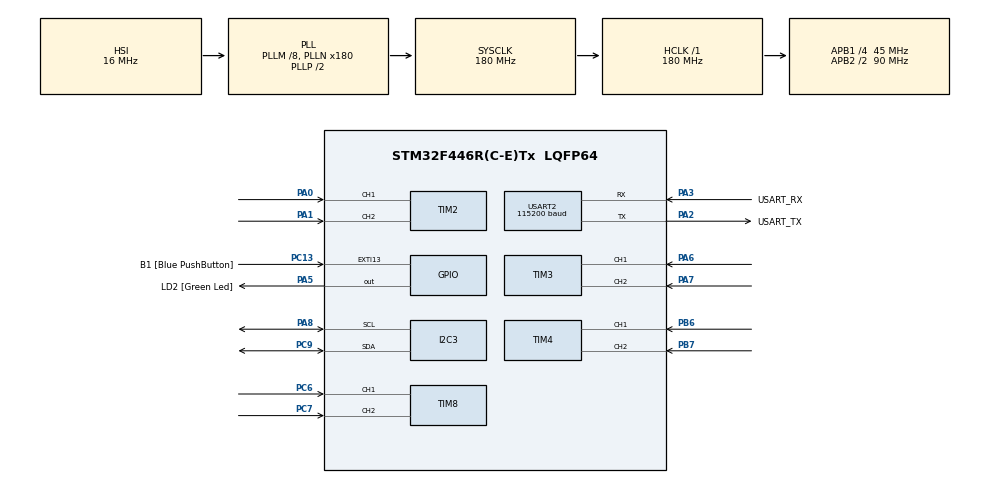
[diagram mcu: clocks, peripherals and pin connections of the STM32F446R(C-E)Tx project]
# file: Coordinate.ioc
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Dma.Request0=USART2_RX
Dma.Request1=USART2_TX
Dma.USART2_RX.0.Direction=DMA_PERIPH_TO_MEMORY
Dma.USART2_RX.0.FIFOMode=DMA_FIFOMODE_DISABLE
Dma.USART2_RX.0.Instance=DMA1_Stream5
Dma.USART2_RX.0.MemDataAlignment=DMA_MDATAALIGN_BYTE
Dma.USART2_RX.0.MemInc=DMA_MINC_ENABLE
Dma.USART2_RX.0.Mode=DMA_CIRCULAR
Dma.USART2_RX.0.PeriphDataAlignment=DMA_PDATAALIGN_BYTE
Dma.USART2_RX.0.PeriphInc=DMA_PINC_DISABLE
Dma.USART2_RX.0.Priority=DMA_PRIORITY_HIGH
Dma.USART2_TX.1.Direction=DMA_MEMORY_TO_PERIPH
Dma.USART2_TX.1.FIFOMode=DMA_FIFOMODE_DISABLE
Dma.USART2_TX.1.Instance=DMA1_Stream6
Dma.USART2_TX.1.MemDataAlignment=DMA_MDATAALIGN_BYTE
Dma.USART2_TX.1.MemInc=DMA_MINC_ENABLE
Dma.USART2_TX.1.Mode=DMA_NORMAL
Dma.USART2_TX.1.PeriphDataAlignment=DMA_PDATAALIGN_BYTE
Dma.USART2_TX.1.PeriphInc=DMA_PINC_DISABLE
Dma.USART2_TX.1.Priority=DMA_PRIORITY_HIGH
Mcu.Family=STM32F4
Mcu.Name=STM32F446R(C-E)Tx
Mcu.Package=LQFP64
NVIC.DMA1_Stream5_IRQn=true\:0\:0\:false\:false\:true\:false\:true\:true
NVIC.DMA1_Stream6_IRQn=true\:0\:0\:false\:false\:true\:false\:true\:true
NVIC.PriorityGroup=NVIC_PRIORITYGROUP_4
NVIC.TIM5_IRQn=true\:0\:0\:false\:false\:true\:true\:true\:true
NVIC.TIM8_BRK_TIM12_IRQn=true\:0\:0\:false\:false\:true\:true\:true\:true
NVIC.USART2_IRQn=true\:0\:0\:false\:false\:true\:true\:true\:true
PA0-WKUP.Signal=S_TIM2_CH1_ETR
PA1.Signal=S_TIM2_CH2
PA13.GPIO_Label=TMS
PA13.Mode=Trace_Asynchronous_SW
PA13.Signal=SYS_JTMS-SWDIO
PA14.GPIO_Label=TCK
PA14.Mode=Trace_Asynchronous_SW
PA14.Signal=SYS_JTCK-SWCLK
PA2.GPIO_Label=USART_TX
PA2.Mode=Asynchronous
PA2.Signal=USART2_TX
PA3.GPIO_Label=USART_RX
PA3.Mode=Asynchronous
PA3.Signal=USART2_RX
PA5.GPIO_Label=LD2 [Green Led]
PA5.Signal=GPIO_Output
PA6.Signal=S_TIM3_CH1
PA7.Signal=S_TIM3_CH2
PA8.Mode=I2C
PA8.Signal=I2C3_SCL
PB3.GPIO_Label=SWO
PB3.Mode=Trace_Asynchronous_SW
PB3.Signal=SYS_JTDO-SWO
PB6.Signal=S_TIM4_CH1
PB7.Signal=S_TIM4_CH2
PC13.GPIO_Label=B1 [Blue PushButton]
PC13.GPIO_ModeDefaultEXTI=GPIO_MODE_IT_FALLING
PC13.Signal=GPXTI13
PC14-OSC32_IN.Mode=LSE-External-Oscillator
PC14-OSC32_IN.Signal=RCC_OSC32_IN
PC15-OSC32_OUT.Mode=LSE-External-Oscillator
PC15-OSC32_OUT.Signal=RCC_OSC32_OUT
PC6.Signal=S_TIM8_CH1
PC7.Signal=S_TIM8_CH2
PC9.Mode=I2C
PC9.Signal=I2C3_SDA
PH0-OSC_IN.Mode=HSE-External-Oscillator
PH0-OSC_IN.Signal=RCC_OSC_IN
PH1-OSC_OUT.Mode=HSE-External-Oscillator
PH1-OSC_OUT.Signal=RCC_OSC_OUT
ProjectManager.HeapSize=0x200
ProjectManager.StackSize=0x400
ProjectManager.TargetToolchain=STM32CubeIDE
RCC.48MHZClocksFreq_Value=84000000
RCC.AHBFreq_Value=180000000
RCC.APB1CLKDivider=RCC_HCLK_DIV4
RCC.APB1Freq_Value=45000000
RCC.APB1TimFreq_Value=90000000
RCC.APB2CLKDivider=RCC_HCLK_DIV2
RCC.APB2Freq_Value=90000000
RCC.APB2TimFreq_Value=180000000
RCC.CortexFreq_Value=180000000
RCC.FLatency-AdvancedSettings=FLASH_LATENCY_5
RCC.HCLKFreq_Value=180000000
RCC.HSE_VALUE=8000000
RCC.HSI_VALUE=16000000
RCC.PLLM=8
RCC.PLLN=180
RCC.SYSCLKFreq_VALUE=180000000
RCC.SYSCLKSource=RCC_SYSCLKSOURCE_PLLCLK
RCC.USBFreq_Value=180000000
RCC.VCOOutputFreq_Value=360000000
SH.S_TIM2_CH1_ETR.0=TIM2_CH1,Encoder_Interface
SH.S_TIM2_CH2.0=TIM2_CH2,Encoder_Interface
SH.S_TIM3_CH1.0=TIM3_CH1,Encoder_Interface
SH.S_TIM3_CH2.0=TIM3_CH2,Encoder_Interface
SH.S_TIM4_CH1.0=TIM4_CH1,Encoder_Interface
SH.S_TIM4_CH2.0=TIM4_CH2,Encoder_Interface
SH.S_TIM8_CH1.0=TIM8_CH1,Encoder_Interface
SH.S_TIM8_CH2.0=TIM8_CH2,Encoder_Interface
TIM12.Period=200-1
TIM12.Prescaler=90-1
TIM3.AutoReloadPreload=TIM_AUTORELOAD_PRELOAD_ENABLE
TIM3.IC1Prescaler=TIM_ICPSC_DIV4
TIM3.IC2Prescaler=TIM_ICPSC_DIV4
TIM4.AutoReloadPreload=TIM_AUTORELOAD_PRELOAD_ENABLE
TIM4.IC1Prescaler=TIM_ICPSC_DIV4
TIM4.IC2Prescaler=TIM_ICPSC_DIV4
TIM5.AutoReloadPreload=TIM_AUTORELOAD_PRELOAD_ENABLE
TIM5.Period=899999
TIM5.Prescaler=5
TIM8.AutoReloadPreload=TIM_AUTORELOAD_PRELOAD_ENABLE
TIM8.IC1Prescaler=TIM_ICPSC_DIV4
TIM8.IC2Prescaler=TIM_ICPSC_DIV4
USART2.BaudRate=115200
USART2.VirtualMode=VM_ASYNC
VP_TIM12_VS_ClockSourceINT.Mode=Internal
VP_TIM5_VS_ClockSourceINT.Mode=Internal
board=NUCLEO-F446RE

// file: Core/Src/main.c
/* USER CODE BEGIN Header */
/**
 ******************************************************************************
 * @file           : main.c
 * @brief          : Main program body
 ******************************************************************************
 * @attention
 *
 * Copyright (c) 2024 STMicroelectronics.
 * All rights reserved.
 *
 * This software is licensed under terms that can be found in the LICENSE file
 * in the root directory of this software component.
 * If no LICENSE file comes with this software, it is provided AS-IS.
 *
 ******************************************************************************
 */
/* USER CODE END Header */
#include "main.h"

/* USER CODE BEGIN Includes */
#include "math.h"
#include "stdio.h"
#include "stdlib.h"
#include "mainpp.h"
/* USER CODE END Includes */

/* USER CODE BEGIN PD */
#define  Size_of_buffer  2500			//Fifo_buffer-iin hemjee
#define  M 33						//A,B duguinii hoorondokh distance
#define  L 45							//A,C duguinii hoorondokh distance
#define  alpha 63
#define  beta 333
#define  gamma 90
#define  delta  27
#define  per_step 5.3*M_PI/2000		//Interrupt hoorondokh ue-iin hemjee

// Gyroscope define
#define MPU6050_ADDR 0xD0
#define SMPLRT_DIV_REG 0x19
#define GYRO_CONFIG_REG 0x1B
#define ACCEL_CONFIG_REG 0x1C
#define ACCEL_XOUT_H_REG 0x3B
#define TEMP_OUT_H_REG 0x41
#define GYRO_XOUT_H_REG 0x43
#define PWR_MGMT_1_REG 0x6B
#define WHO_AM_I_REG 0x75
#define BUFFER_SIZE 8

//Can define
//#define CAN1_DEVICE_NUM     4
//#define FIRST_GROUP_ID      0x190
//#define CAN_DATA_SIZE       8
//#define CAN1_RX_ID_START    0x201
/* USER CODE END PD */

I2C_HandleTypeDef hi2c3;

TIM_HandleTypeDef htim2;
TIM_HandleTypeDef htim3;
TIM_HandleTypeDef htim4;
TIM_HandleTypeDef htim5;
TIM_HandleTypeDef htim8;
TIM_HandleTypeDef htim12;

UART_HandleTypeDef huart2;
DMA_HandleTypeDef hdma_usart2_rx;
DMA_HandleTypeDef hdma_usart2_tx;

/* USER CODE BEGIN PV */
int32_t valueA;
//EncoderB-iin utga
int32_t valueB;
//EncoderC-iin utga
int32_t valueC;
//niit orj irsen encoder-iin interruptiin too
uint32_t value_s=0;

uint32_t t_temp;

int16_t theta_angle;
uint32_t interrupt_counter;
uint8_t rxData[8];
uint8_t flag=0;

double Speed_EncoderA;		//A_encoder-iin hurd-iig hadgalakh huwisagch
double Speed_EncoderB;		//B_encoder-iin hurd-iig hadgalakh huwisagch
double Speed_EncoderC;		//C_encoder-iin hurd-iig hadgalakh huwisagch

double ha_perp;
double hb_perp;
double hc_perp;
double vA_perp;

double RX[2][1];
double RY[2][1];
double at[2][1];
double at_perp[2][1];
double rA[2][1]={0};
double velocity_A[2][1];
double velocity_A_perp[2][1];
double A_velocity[2][1];
double distanceA = 0.0;
double distanceB = 0.0;
double distanceC = 0.0;
/*
 *
 */
double omega ;
double theta ;

//Gyroscope
uint16_t Accel_X_Raw;
uint16_t Accel_Y_Raw;
uint16_t Accel_Z_Raw;
float Ax;
float Ay;
float Az;

int16_t buffer[8];
uint8_t msg1;
uint8_t msg2;
uint8_t msg3;
uint8_t msg4;
uint8_t msg5;

uint8_t angle_X;
uint8_t angle_Y;
double radian_Alpha;
double radian_Beta;
double radian_Gamma;
double radian_Delta;
double AB[2][1];
double AC[2][1];
double a_encoder[2][1];
double a_perp[2][1];
double b_encoder[2][1];
double c_encoder[2][1];
double g[2][1];
double g_perp[2][1];
double b_c_encoder[2][2];
double theta_0=0;
uint32_t old_couter=0;
//CAN_FilterTypeDef sFilterConfig;
//CAN_RxHeaderTypeDef rxHeader;
//CAN_TxHeaderTypeDef txHeader;
/* USER CODE END PV */

void SystemClock_Config(void);
static void MX_GPIO_Init(void);
static void MX_DMA_Init(void);
static void MX_USART2_UART_Init(void);
static void MX_TIM3_Init(void);
static void MX_TIM4_Init(void);
static void MX_TIM5_Init(void);
static void MX_TIM8_Init(void);
static void MX_I2C3_Init(void);
static void MX_TIM12_Init(void);
static void MX_TIM2_Init(void);

/* USER CODE BEGIN 0 */
//void can_transmit(CAN_HandleTypeDef* hcan, uint16_t id, uint8_t msg0, uint8_t msg1, uint16_t msg2,uint16_t msg3,uint16_t msg4){
//	CAN_TxHeaderTypeDef tx_header;
//	uint8_t             buffer[8];
//	uint32_t            pTxMailbox;
//
//	tx_header.StdId = id;
//	tx_header.IDE   = CAN_ID_STD;
//	tx_header.RTR   = CAN_RTR_DATA;
//	tx_header.DLC   = 8;
//	tx_header.TransmitGlobalTime = DISABLE;
//	buffer[0]=msg0;
//	buffer[1]=msg1;
//	buffer[2] = msg2>>8;
//	buffer[3] = msg2;
//	buffer[4] = msg3>>8;
//	buffer[5] = msg3;
//	buffer[6] = msg4>>8;
//	buffer[7] = msg4;
//
//	if (HAL_CAN_AddTxMessage(hcan, &tx_header, buffer, &pTxMailbox) == HAL_OK){
//		HAL_CAN_IsTxMessagePending(hcan, pTxMailbox);
//	}
//}
//void HAL_CAN_RxFifo0MsgPendingCallback(CAN_HandleTypeDef *hcan) {
//
//	HAL_CAN_GetRxMessage(&hcan1, CAN_RX_FIFO0, &rxHeader, rxData);
//	if(rxHeader.StdId == 0x200){
//		flag++;
//	}
//
//}
void HAL_TIM_PeriodElapsedCallback(TIM_HandleTypeDef* htim)
{
//	if(htim==&htim12)
//	{
////		can_transmit(&hcan1, 0x201, buffer[0], buffer[1], buffer[2],buffer[3],buffer[4]);
//		loop();
//	}
	if(htim==&htim5)
	{
		uint16_t new_countA = TIM3->CNT;
		uint16_t new_countB = TIM4->CNT;
		uint16_t new_countC = TIM8->CNT;
		int16_t diffA = new_countA - valueA;
		int16_t diffB = new_countB - valueB;
		int16_t diffC = new_countC - valueC;

		if (diffA > 32767) {
			diffA -= 65536; // Handle overflow
		} else if (diffA < -32767) {
			diffA += 65536; // Handle underflow
		}

		if (diffB > 32767) {
			diffB -= 65536; // Handle overflow
		} else if (diffB < -32767) {
			diffB += 65536; // Handle underflow
		}

		if (diffC > 32767) {
			diffC -= 65536; // Handle overflow
		} else if (diffC < -32767) {
			diffC += 65536; // Handle underflow
		}

		// Update total distances traveled
		Speed_EncoderA=diffA*per_step;
		Speed_EncoderB=diffB*per_step;
		Speed_EncoderC=diffC*per_step;
		distanceA += Speed_EncoderA;
		distanceB += Speed_EncoderB;
		distanceC += Speed_EncoderC;
		// Update current counts
		valueA = new_countA;
		valueB = new_countB;
		valueC = new_countC;
		interrupt_counter++;
	}
}
void MPU6050_Init (void)
{
	uint8_t check, Data;
	HAL_I2C_Mem_Read (&hi2c3, MPU6050_ADDR, WHO_AM_I_REG,1,&check,1,1000);

	if( check == 104)
	{
		Data=0;
		HAL_I2C_Mem_Write(&hi2c3, MPU6050_ADDR, PWR_MGMT_1_REG, 1, &Data, 1, 1000);

		Data=0x07;
		HAL_I2C_Mem_Write(&hi2c3, MPU6050_ADDR, SMPLRT_DIV_REG, 1, &Data, 1, 1000);

		Data=0x00;
		HAL_I2C_Mem_Write(&hi2c3, MPU6050_ADDR, ACCEL_CONFIG_REG, 1, &Data, 1, 1000);

		Data=0x00;
		HAL_I2C_Mem_Write(&hi2c3, MPU6050_ADDR, GYRO_CONFIG_REG, 1, &Data, 1, 1000);
	}
}
void MPU6050_Read_Accel(void)
{
	uint8_t Rec_Data[6];
	HAL_I2C_Mem_Read(&hi2c3, MPU6050_ADDR, ACCEL_XOUT_H_REG, 1, Rec_Data, 6, 1000);

	Accel_X_Raw=(int16_t)(Rec_Data[0] << 8 | Rec_Data[1]);
	Accel_Y_Raw=(int16_t)(Rec_Data[2] << 8 | Rec_Data[3]);
	Accel_Z_Raw=(int16_t)(Rec_Data[4] << 8 | Rec_Data[5]);
	//		can_transmit(&hcan1, 0x191, Rec_Data[0], Rec_Data[1]);
	Ax=Accel_X_Raw/4096.0;
	Ay=Accel_Y_Raw/4096.0;
	Az=Accel_Z_Raw/4096.0;
}
float Accel_X_Angle(float Ax, float Ay, float Az) {
	float angle_deg = (180/3.141592)*(atan(Az/Ax));
	return angle_deg;
}
float Accel_Y_Angle(float Ax, float Ay, float Az) {
	float angle_deg = (180/3.141592)*(atan(Ay/Az));
	return angle_deg;
}

/* USER CODE END 0 */

int main(void)
{

  /* MCU Configuration--------------------------------------------------------*/

  /* Reset of all peripherals, Initializes the Flash interface and the Systick. */
  HAL_Init();

  /* Configure the system clock */
  SystemClock_Config();

  /* Initialize all configured peripherals */
  MX_GPIO_Init();
  MX_DMA_Init();
  MX_USART2_UART_Init();
  MX_TIM3_Init();
  MX_TIM4_Init();
  MX_TIM5_Init();
  MX_TIM8_Init();
  MX_I2C3_Init();
  MX_TIM12_Init();
  MX_TIM2_Init();
  /* USER CODE BEGIN 2 */
	HAL_TIM_Base_Start_IT(&htim5);
	HAL_TIM_Encoder_Start(&htim3, TIM_CHANNEL_1);
	HAL_TIM_Encoder_Start(&htim4, TIM_CHANNEL_1);
	HAL_TIM_Encoder_Start(&htim8, TIM_CHANNEL_1);

	/*initial buyu neg robot geometry cm */
	radian_Alpha=(M_PI/180)*alpha;		//alpha untsugiig degree to radian bolgoj hurwuulj  baigaa uildel
	radian_Beta=(M_PI/180)*beta;		//beta untsugiig degree to radian bolgoj hurwuulj  baigaa uildel
	radian_Gamma=(M_PI/180)*gamma;		//gamma untsugiig degree to radian bolgoj hurwuulj  baigaa uildel;
	radian_Delta=(M_PI/180)*delta;		//delta untsugiig degree to radian bolgoj hurwuulj  baigaa uildel;
	// AB vector
	AB[0][0]=L*cos(radian_Delta);
	AB[1][0]=L*sin(radian_Delta);

	// AC vector
	AC[0][0]=M*1;
	AC[1][0]=M*0;

	//a_encoder Vector
	a_encoder[0][0]=cos(radian_Delta + radian_Alpha),
	a_encoder[1][0]=sin(radian_Delta + radian_Alpha);
	//a_perp Vector
	a_perp[0][0]=-1*a_encoder[1][0];
	a_perp[1][0]=1*a_encoder[0][0];
	//b vector
	b_encoder[0][0]=cos(radian_Delta+radian_Beta);
	b_encoder[1][0]=sin(radian_Delta+radian_Beta);

	//c_vector
	c_encoder[0][0]=cos(radian_Gamma);
	c_encoder[1][0]=sin(radian_Gamma);
	/*
	 * g=inv([b,c])*a;
	 * [b,c]=[b_encoder,c_encoder]  [4][4]
	 * inv([b,c])
	 * a=[2][1]
	 */
	b_c_encoder[0][0]=b_encoder[0][0];
	b_c_encoder[1][0]=b_encoder[1][0];
	b_c_encoder[0][1]=c_encoder[0][0];
	b_c_encoder[1][1]=c_encoder[1][0];
	/*
	 * Determinant
	 */
	double determinant;
	determinant=b_c_encoder[0][0] * b_c_encoder[1][1] - b_c_encoder[0][1] * b_c_encoder[1][0];
	/*
	 * Matrix inverse
	 */
	double inv_det;
	inv_det=1/determinant;
	double temp[2][2];
	temp[0][0] =  b_c_encoder[1][1] * inv_det;
	temp[0][1] = -b_c_encoder[0][1] * inv_det;
	temp[1][0] = -b_c_encoder[1][0] * inv_det;
	temp[1][1] =  b_c_encoder[0][0] * inv_det;
	/*
	 *
	 */
	g[0][0]=temp[0][0]*a_encoder[0][0]+temp[0][1]*a_encoder[1][0];
	g[1][0]=temp[1][0]*a_encoder[0][0]+temp[1][1]*a_encoder[1][0];
	/*
	 * g_perp
	 */
	g_perp[0][0]=temp[0][0]*a_perp[0][0]+temp[0][1]*a_perp[1][0];
	g_perp[1][0]=temp[1][0]*a_perp[0][0]+temp[1][1]*a_perp[1][0];
	double Bb=AB[0][0]*b_encoder[1][0]-AB[1][0]*b_encoder[0][0];
	double Cc=AC[0][0]*c_encoder[1][0]-AC[1][0]*c_encoder[0][0];
	ha_perp=(g_perp[0][0]*Bb+g_perp[1][0]*Cc)/(g[0][0]*Bb+g[1][0]*Cc);
	hb_perp=(g_perp[0][0]*g[1][0]-g_perp[1][0]*g[1][1])*Cc/(g[0][0]*Bb+g[1][0]*Cc);
	hc_perp=-(g_perp[0][0]*g[1][0]-g_perp[1][0]*g[0][0])*Bb/(g[0][0]*Bb+g[1][0]*Cc);

	HAL_TIM_Base_Start_IT(&htim12);
	MPU6050_Init();
	setup();
  /* USER CODE END 2 */

  /* Infinite loop */
  /* USER CODE BEGIN WHILE */
	while (1)
	{
		if(interrupt_counter>old_couter)
		{
			//omega=(g[0][0]*Speed_EncoderB+g[1][0]*Speed_EncoderC-Speed_EncoderA)/(g[1][1]*Bb+g[1][0]*Cc);
			theta=theta_0+((g[0][0]*distanceB+g[1][0]*distanceC)-distanceA)/(g[0][0]*Bb+g[1][0]*Cc);
			vA_perp=Speed_EncoderA*ha_perp+Speed_EncoderB*hb_perp+Speed_EncoderC*hc_perp;
			/*
			 * Rotation matrix
			 */
			RX[0][0]=cos(theta);
			RX[1][0]=sin(theta);
			RY[0][0]=-sin(theta);
			RY[1][0]=cos(theta);

			at[0][0]=a_encoder[0][0]*RX[0][0]+a_encoder[1][0]*RY[0][0];
			at[1][0]=a_encoder[0][0]*RX[1][0]+a_encoder[1][0]*RY[1][0];

			//			at_perp[0][0]=a_perp[0][0]*RX[0][0]+a_perp[1][0]*RX[0][1];
			//			at_perp[1][0]=a_perp[0][0]*RY[0][0]+a_perp[1][0]*RY[0][1];

			at_perp[0][0]=a_perp[0][0]*RX[0][0]+a_perp[1][0]*RY[0][1];
			at_perp[1][0]=a_perp[0][0]*RX[1][0]+a_perp[1][0]*RY[1][0];

			velocity_A[0][0]=Speed_EncoderA*at[0][0];
			velocity_A[1][0]=Speed_EncoderA*at[1][0];

			velocity_A_perp[0][0]=vA_perp*at_perp[0][0];
			velocity_A_perp[0][1]=vA_perp*at_perp[1][0];

			A_velocity[0][0]=velocity_A[0][0]+velocity_A_perp[0][0];
			A_velocity[1][0]=velocity_A[1][0]+velocity_A_perp[1][0];
			rA[0][0]=rA[0][0]+(A_velocity[0][0]);
			rA[1][0]=rA[1][0]+(A_velocity[1][0]);
			old_couter=interrupt_counter;

			MPU6050_Read_Accel();
			angle_X = Accel_X_Angle(Ax, Ay, Az);
			angle_Y = Accel_Y_Angle(Ax, Ay, Az);
			theta_angle=theta*180/M_PI;
			int16_t rA_x_int16_t = (int16_t)rA[0][0];
			int16_t rA_y_int16_t = (int16_t)rA[1][0];
			buffer[0]= angle_X;
			buffer[1]= angle_Y;
			buffer[2]= theta_angle;
			buffer[3]= rA_x_int16_t;
			buffer[4]= rA_y_int16_t;
			buffer[5]= distanceA;
			buffer[6]= distanceB;
			buffer[7]= distanceC;
			loop();
    /* USER CODE END WHILE */

		}
	}
}

void SystemClock_Config(void)
{
  RCC_OscInitTypeDef RCC_OscInitStruct = {0};
  RCC_ClkInitTypeDef RCC_ClkInitStruct = {0};

  /** Configure the main internal regulator output voltage
  */
  __HAL_RCC_PWR_CLK_ENABLE();
  __HAL_PWR_VOLTAGESCALING_CONFIG(PWR_REGULATOR_VOLTAGE_SCALE1);

  /** Initializes the RCC Oscillators according to the specified parameters
  * in the RCC_OscInitTypeDef structure.
  */
  RCC_OscInitStruct.OscillatorType = RCC_OSCILLATORTYPE_HSI;
  RCC_OscInitStruct.HSIState = RCC_HSI_ON;
  RCC_OscInitStruct.HSICalibrationValue = RCC_HSICALIBRATION_DEFAULT;
  RCC_OscInitStruct.PLL.PLLState = RCC_PLL_ON;
  RCC_OscInitStruct.PLL.PLLSource = RCC_PLLSOURCE_HSI;
  RCC_OscInitStruct.PLL.PLLM = 8;
  RCC_OscInitStruct.PLL.PLLN = 180;
  RCC_OscInitStruct.PLL.PLLP = RCC_PLLP_DIV2;
  RCC_OscInitStruct.PLL.PLLQ = 2;
  RCC_OscInitStruct.PLL.PLLR = 2;
  if (HAL_RCC_OscConfig(&RCC_OscInitStruct) != HAL_OK)
  {
    Error_Handler();
  }

  /** Activate the Over-Drive mode
  */
  if (HAL_PWREx_EnableOverDrive() != HAL_OK)
  {
    Error_Handler();
  }

  /** Initializes the CPU, AHB and APB buses clocks
  */
  RCC_ClkInitStruct.ClockType = RCC_CLOCKTYPE_HCLK|RCC_CLOCKTYPE_SYSCLK
                              |RCC_CLOCKTYPE_PCLK1|RCC_CLOCKTYPE_PCLK2;
  RCC_ClkInitStruct.SYSCLKSource = RCC_SYSCLKSOURCE_PLLCLK;
  RCC_ClkInitStruct.AHBCLKDivider = RCC_SYSCLK_DIV1;
  RCC_ClkInitStruct.APB1CLKDivider = RCC_HCLK_DIV4;
  RCC_ClkInitStruct.APB2CLKDivider = RCC_HCLK_DIV2;

  if (HAL_RCC_ClockConfig(&RCC_ClkInitStruct, FLASH_LATENCY_5) != HAL_OK)
  {
    Error_Handler();
  }
}

static void MX_I2C3_Init(void)
{

  hi2c3.Instance = I2C3;
  hi2c3.Init.ClockSpeed = 100000;
  hi2c3.Init.DutyCycle = I2C_DUTYCYCLE_2;
  hi2c3.Init.OwnAddress1 = 0;
  hi2c3.Init.AddressingMode = I2C_ADDRESSINGMODE_7BIT;
  hi2c3.Init.DualAddressMode = I2C_DUALADDRESS_DISABLE;
  hi2c3.Init.OwnAddress2 = 0;
  hi2c3.Init.GeneralCallMode = I2C_GENERALCALL_DISABLE;
  hi2c3.Init.NoStretchMode = I2C_NOSTRETCH_DISABLE;
  if (HAL_I2C_Init(&hi2c3) != HAL_OK)
  {
    Error_Handler();
  }

}

static void MX_TIM2_Init(void)
{

  TIM_Encoder_InitTypeDef sConfig = {0};
  TIM_MasterConfigTypeDef sMasterConfig = {0};

  htim2.Instance = TIM2;
  htim2.Init.Prescaler = 0;
  htim2.Init.CounterMode = TIM_COUNTERMODE_UP;
  htim2.Init.Period = 4294967295;
  htim2.Init.ClockDivision = TIM_CLOCKDIVISION_DIV1;
  htim2.Init.AutoReloadPreload = TIM_AUTORELOAD_PRELOAD_DISABLE;
  sConfig.EncoderMode = TIM_ENCODERMODE_TI1;
  sConfig.IC1Polarity = TIM_ICPOLARITY_RISING;
  sConfig.IC1Selection = TIM_ICSELECTION_DIRECTTI;
  sConfig.IC1Prescaler = TIM_ICPSC_DIV1;
  sConfig.IC1Filter = 0;
  sConfig.IC2Polarity = TIM_ICPOLARITY_RISING;
  sConfig.IC2Selection = TIM_ICSELECTION_DIRECTTI;
  sConfig.IC2Prescaler = TIM_ICPSC_DIV1;
  sConfig.IC2Filter = 0;
  if (HAL_TIM_Encoder_Init(&htim2, &sConfig) != HAL_OK)
  {
    Error_Handler();
  }
  sMasterConfig.MasterOutputTrigger = TIM_TRGO_RESET;
  sMasterConfig.MasterSlaveMode = TIM_MASTERSLAVEMODE_DISABLE;
  if (HAL_TIMEx_MasterConfigSynchronization(&htim2, &sMasterConfig) != HAL_OK)
  {
    Error_Handler();
  }

}

static void MX_TIM3_Init(void)
{

  TIM_Encoder_InitTypeDef sConfig = {0};
  TIM_MasterConfigTypeDef sMasterConfig = {0};

  htim3.Instance = TIM3;
  htim3.Init.Prescaler = 0;
  htim3.Init.CounterMode = TIM_COUNTERMODE_UP;
  htim3.Init.Period = 65535;
  htim3.Init.ClockDivision = TIM_CLOCKDIVISION_DIV1;
  htim3.Init.AutoReloadPreload = TIM_AUTORELOAD_PRELOAD_ENABLE;
  sConfig.EncoderMode = TIM_ENCODERMODE_TI1;
  sConfig.IC1Polarity = TIM_ICPOLARITY_RISING;
  sConfig.IC1Selection = TIM_ICSELECTION_DIRECTTI;
  sConfig.IC1Prescaler = TIM_ICPSC_DIV4;
  sConfig.IC1Filter = 0;
  sConfig.IC2Polarity = TIM_ICPOLARITY_RISING;
  sConfig.IC2Selection = TIM_ICSELECTION_DIRECTTI;
  sConfig.IC2Prescaler = TIM_ICPSC_DIV4;
  sConfig.IC2Filter = 0;
  if (HAL_TIM_Encoder_Init(&htim3, &sConfig) != HAL_OK)
  {
    Error_Handler();
  }
  sMasterConfig.MasterOutputTrigger = TIM_TRGO_RESET;
  sMasterConfig.MasterSlaveMode = TIM_MASTERSLAVEMODE_DISABLE;
  if (HAL_TIMEx_MasterConfigSynchronization(&htim3, &sMasterConfig) != HAL_OK)
  {
    Error_Handler();
  }

}

static void MX_TIM4_Init(void)
{

  TIM_Encoder_InitTypeDef sConfig = {0};
  TIM_MasterConfigTypeDef sMasterConfig = {0};

  htim4.Instance = TIM4;
  htim4.Init.Prescaler = 0;
  htim4.Init.CounterMode = TIM_COUNTERMODE_UP;
  htim4.Init.Period = 65535;
  htim4.Init.ClockDivision = TIM_CLOCKDIVISION_DIV1;
  htim4.Init.AutoReloadPreload = TIM_AUTORELOAD_PRELOAD_ENABLE;
  sConfig.EncoderMode = TIM_ENCODERMODE_TI1;
  sConfig.IC1Polarity = TIM_ICPOLARITY_RISING;
  sConfig.IC1Selection = TIM_ICSELECTION_DIRECTTI;
  sConfig.IC1Prescaler = TIM_ICPSC_DIV4;
  sConfig.IC1Filter = 0;
  sConfig.IC2Polarity = TIM_ICPOLARITY_RISING;
  sConfig.IC2Selection = TIM_ICSELECTION_DIRECTTI;
  sConfig.IC2Prescaler = TIM_ICPSC_DIV4;
  sConfig.IC2Filter = 0;
  if (HAL_TIM_Encoder_Init(&htim4, &sConfig) != HAL_OK)
  {
    Error_Handler();
  }
  sMasterConfig.MasterOutputTrigger = TIM_TRGO_RESET;
  sMasterConfig.MasterSlaveMode = TIM_MASTERSLAVEMODE_DISABLE;
  if (HAL_TIMEx_MasterConfigSynchronization(&htim4, &sMasterConfig) != HAL_OK)
  {
    Error_Handler();
  }

}

static void MX_TIM5_Init(void)
{

  TIM_ClockConfigTypeDef sClockSourceConfig = {0};
  TIM_MasterConfigTypeDef sMasterConfig = {0};

  htim5.Instance = TIM5;
  htim5.Init.Prescaler = 5;
  htim5.Init.CounterMode = TIM_COUNTERMODE_UP;
  htim5.Init.Period = 899999;
  htim5.Init.ClockDivision = TIM_CLOCKDIVISION_DIV1;
  htim5.Init.AutoReloadPreload = TIM_AUTORELOAD_PRELOAD_ENABLE;
  if (HAL_TIM_Base_Init(&htim5) != HAL_OK)
  {
    Error_Handler();
  }
  sClockSourceConfig.ClockSource = TIM_CLOCKSOURCE_INTERNAL;
  if (HAL_TIM_ConfigClockSource(&htim5, &sClockSourceConfig) != HAL_OK)
  {
    Error_Handler();
  }
  sMasterConfig.MasterOutputTrigger = TIM_TRGO_RESET;
  sMasterConfig.MasterSlaveMode = TIM_MASTERSLAVEMODE_DISABLE;
  if (HAL_TIMEx_MasterConfigSynchronization(&htim5, &sMasterConfig) != HAL_OK)
  {
    Error_Handler();
  }

}

static void MX_TIM8_Init(void)
{

  TIM_Encoder_InitTypeDef sConfig = {0};
  TIM_MasterConfigTypeDef sMasterConfig = {0};

  htim8.Instance = TIM8;
  htim8.Init.Prescaler = 0;
  htim8.Init.CounterMode = TIM_COUNTERMODE_UP;
  htim8.Init.Period = 65535;
  htim8.Init.ClockDivision = TIM_CLOCKDIVISION_DIV1;
  htim8.Init.RepetitionCounter = 0;
  htim8.Init.AutoReloadPreload = TIM_AUTORELOAD_PRELOAD_ENABLE;
  sConfig.EncoderMode = TIM_ENCODERMODE_TI1;
  sConfig.IC1Polarity = TIM_ICPOLARITY_RISING;
  sConfig.IC1Selection = TIM_ICSELECTION_DIRECTTI;
  sConfig.IC1Prescaler = TIM_ICPSC_DIV4;
  sConfig.IC1Filter = 0;
  sConfig.IC2Polarity = TIM_ICPOLARITY_RISING;
  sConfig.IC2Selection = TIM_ICSELECTION_DIRECTTI;
  sConfig.IC2Prescaler = TIM_ICPSC_DIV4;
  sConfig.IC2Filter = 0;
  if (HAL_TIM_Encoder_Init(&htim8, &sConfig) != HAL_OK)
  {
    Error_Handler();
  }
  sMasterConfig.MasterOutputTrigger = TIM_TRGO_RESET;
  sMasterConfig.MasterSlaveMode = TIM_MASTERSLAVEMODE_DISABLE;
  if (HAL_TIMEx_MasterConfigSynchronization(&htim8, &sMasterConfig) != HAL_OK)
  {
    Error_Handler();
  }

}

static void MX_TIM12_Init(void)
{

  TIM_ClockConfigTypeDef sClockSourceConfig = {0};

  htim12.Instance = TIM12;
  htim12.Init.Prescaler = 90-1;
  htim12.Init.CounterMode = TIM_COUNTERMODE_UP;
  htim12.Init.Period = 200-1;
  htim12.Init.ClockDivision = TIM_CLOCKDIVISION_DIV1;
  htim12.Init.AutoReloadPreload = TIM_AUTORELOAD_PRELOAD_DISABLE;
  if (HAL_TIM_Base_Init(&htim12) != HAL_OK)
  {
    Error_Handler();
  }
  sClockSourceConfig.ClockSource = TIM_CLOCKSOURCE_INTERNAL;
  if (HAL_TIM_ConfigClockSource(&htim12, &sClockSourceConfig) != HAL_OK)
  {
    Error_Handler();
  }

}

static void MX_USART2_UART_Init(void)
{

  huart2.Instance = USART2;
  huart2.Init.BaudRate = 115200;
  huart2.Init.WordLength = UART_WORDLENGTH_8B;
  huart2.Init.StopBits = UART_STOPBITS_1;
  huart2.Init.Parity = UART_PARITY_NONE;
  huart2.Init.Mode = UART_MODE_TX_RX;
  huart2.Init.HwFlowCtl = UART_HWCONTROL_NONE;
  huart2.Init.OverSampling = UART_OVERSAMPLING_16;
  if (HAL_UART_Init(&huart2) != HAL_OK)
  {
    Error_Handler();
  }

}

static void MX_DMA_Init(void)
{

  /* DMA controller clock enable */
  __HAL_RCC_DMA1_CLK_ENABLE();

  /* DMA interrupt init */
  /* DMA1_Stream5_IRQn interrupt configuration */
  HAL_NVIC_SetPriority(DMA1_Stream5_IRQn, 0, 0);
  HAL_NVIC_EnableIRQ(DMA1_Stream5_IRQn);
  /* DMA1_Stream6_IRQn interrupt configuration */
  HAL_NVIC_SetPriority(DMA1_Stream6_IRQn, 0, 0);
  HAL_NVIC_EnableIRQ(DMA1_Stream6_IRQn);

}

static void MX_GPIO_Init(void)
{
  GPIO_InitTypeDef GPIO_InitStruct = {0};

  /* GPIO Ports Clock Enable */
  __HAL_RCC_GPIOC_CLK_ENABLE();
  __HAL_RCC_GPIOH_CLK_ENABLE();
  __HAL_RCC_GPIOA_CLK_ENABLE();
  __HAL_RCC_GPIOB_CLK_ENABLE();

  /*Configure GPIO pin Output Level */
  HAL_GPIO_WritePin(LD2_GPIO_Port, LD2_Pin, GPIO_PIN_RESET);

  /*Configure GPIO pin : B1_Pin */
  GPIO_InitStruct.Pin = B1_Pin;
  GPIO_InitStruct.Mode = GPIO_MODE_IT_FALLING;
  GPIO_InitStruct.Pull = GPIO_NOPULL;
  HAL_GPIO_Init(B1_GPIO_Port, &GPIO_InitStruct);

  /*Configure GPIO pin : LD2_Pin */
  GPIO_InitStruct.Pin = LD2_Pin;
  GPIO_InitStruct.Mode = GPIO_MODE_OUTPUT_PP;
  GPIO_InitStruct.Pull = GPIO_NOPULL;
  GPIO_InitStruct.Speed = GPIO_SPEED_FREQ_LOW;
  HAL_GPIO_Init(LD2_GPIO_Port, &GPIO_InitStruct);

}

void Error_Handler(void)
{
	__disable_irq();
	while (1)
	{
	}
}
